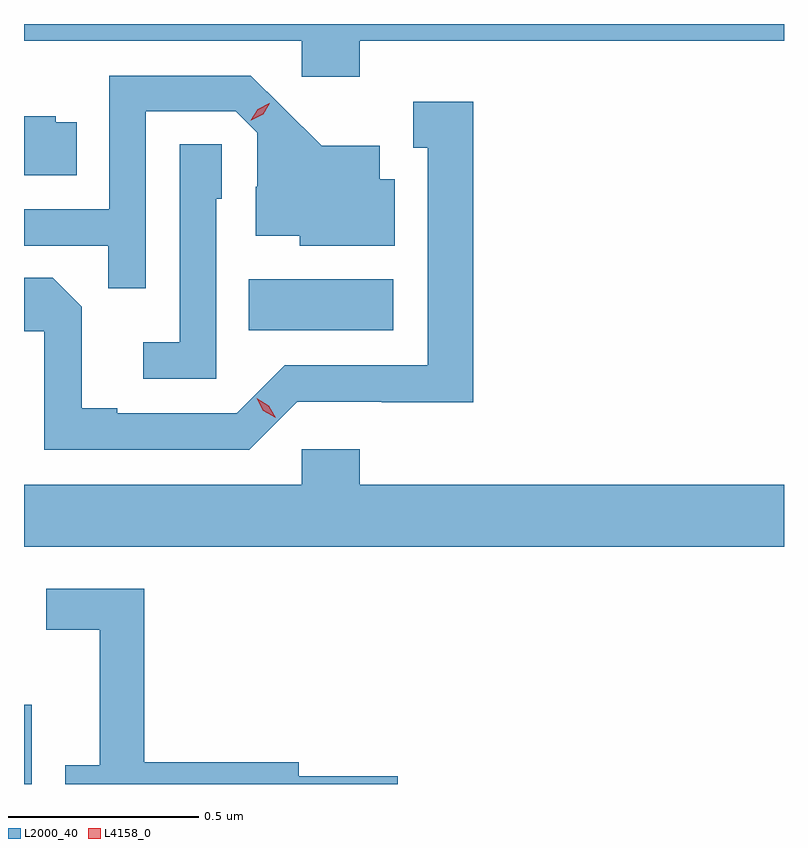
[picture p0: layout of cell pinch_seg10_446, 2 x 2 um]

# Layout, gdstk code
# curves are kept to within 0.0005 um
import gdstk
lib = gdstk.Library(unit=1e-6, precision=1e-09)
def R(c, l, rs):  # rectangles x0, y0, x1, y1
    for r in rs: c.add(gdstk.rectangle(r[:2], r[2:], *l))
def P(c, l, *ps):  # polygons
    for p in ps: c.add(gdstk.Polygon(p, *l))
L2000_40 = (2000, 40)
L4158_0 = (4158, 0)

pinch_seg10_446 = lib.new_cell('pinch_seg10_446')
R(pinch_seg10_446, L2000_40, [(370.765,1303.688,370.785,1303.897), (371.356,1304.882,371.737,1305.016)])
P(pinch_seg10_446, L2000_40, [(371.648,1305.644),(372.765,1305.644),(372.765,1305.688),(370.765,1305.688),(370.765,1305.644),(371.496,1305.644),(371.496,1305.549),(371.648,1305.549)],
  [(371.085,1305.459),(371.322,1305.459),(371.379,1305.402),(371.379,1305.26),(371.375,1305.26),(371.375,1305.131),(371.49,1305.131),(371.49,1305.104),(371.74,1305.104),(371.74,1305.28),(371.701,1305.28),(371.701,1305.367),(371.549,1305.367),(371.362,1305.552),(370.989,1305.552),(370.989,1305.201),(370.765,1305.201),(370.765,1305.105),(370.987,1305.105),(370.987,1304.992),(371.085,1304.992)],
  [(371.484,1304.694),(371.706,1304.694),(371.706,1304.693),(371.947,1304.693),(371.947,1305.484),(371.789,1305.484),(371.789,1305.363),(371.828,1305.363),(371.828,1304.79),(371.451,1304.79),(371.325,1304.664),(371.011,1304.664),(371.011,1304.677),(370.917,1304.677),(370.917,1304.944),(370.841,1305.02),(370.765,1305.02),(370.765,1304.88),(370.818,1304.88),(370.818,1304.568),(371.358,1304.568)],
  [(370.904,1305.43),(370.848,1305.43),(370.848,1305.445),(370.765,1305.445),(370.765,1305.29),(370.904,1305.29)],
  [(371.271,1305.228),(371.286,1305.228),(371.286,1305.371),(371.175,1305.371),(371.175,1304.851),(371.079,1304.851),(371.079,1304.754),(371.271,1304.754)],
  [(372.765,1304.476),(371.648,1304.476),(371.648,1304.569),(371.496,1304.569),(371.496,1304.476),(370.765,1304.476),(370.765,1304.312),(372.765,1304.312)],
  [(371.749,1303.709),(371.488,1303.709),(371.488,1303.745),(371.081,1303.745),(371.081,1304.202),(370.824,1304.202),(370.824,1304.094),(370.964,1304.094),(370.964,1303.738),(370.874,1303.738),(370.874,1303.688),(371.749,1303.688)])
P(pinch_seg10_446, L4158_0, [(371.427,1304.652),(371.395,1304.67),(371.377,1304.703),(371.377,1304.703),(371.378,1304.703),(371.409,1304.684),(371.427,1304.652),(371.427,1304.652)],
  [(371.362,1305.435),(371.362,1305.435),(371.38,1305.464),(371.411,1305.479),(371.412,1305.479),(371.412,1305.479),(371.394,1305.45),(371.363,1305.435)])

lib.write_gds('pinch_seg10_446.gds')
